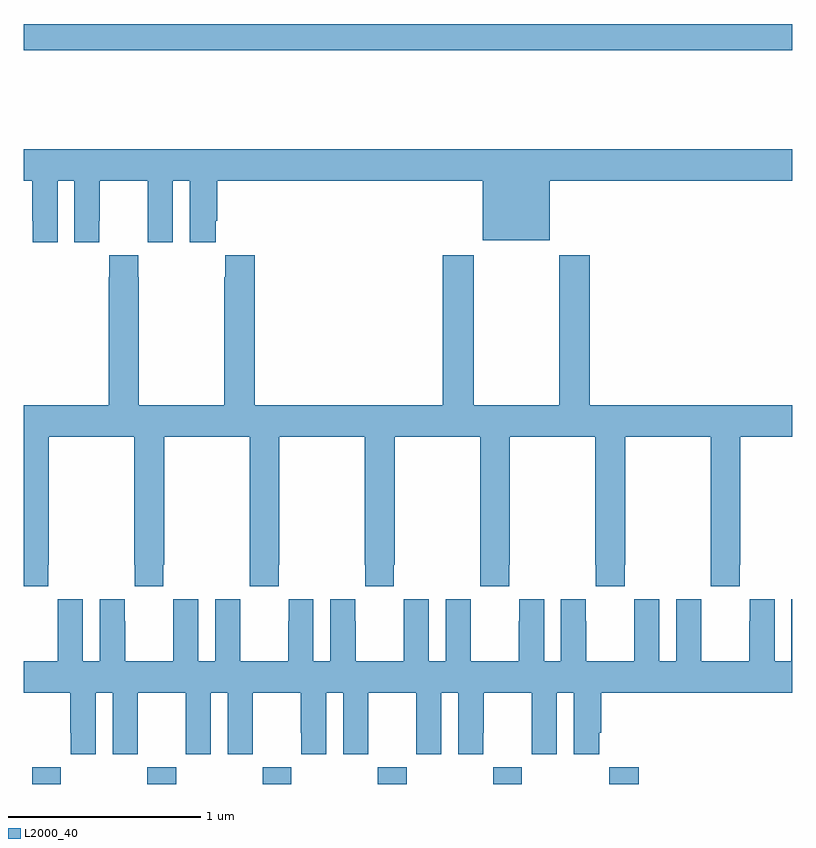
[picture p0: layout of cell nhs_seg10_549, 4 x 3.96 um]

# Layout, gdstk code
import gdstk
lib = gdstk.Library(unit=1e-6, precision=1e-09)
def R(c, l, rs):  # rectangles x0, y0, x1, y1
    for r in rs: c.add(gdstk.rectangle(r[:2], r[2:], *l))
def A(c, l, x, y, w, h, nx, ny, dx, dy):  # array of equal rectangles
    R(c, l, [(x+i*dx, y+j*dy, x+i*dx+w, y+j*dy+h) for i in range(nx) for j in range(ny)])
def P(c, l, *ps):  # polygons
    for p in ps: c.add(gdstk.Polygon(p, *l))
L2000_40 = (2000, 40)

nhs_seg10_549 = lib.new_cell('nhs_seg10_549')
A(nhs_seg10_549, L2000_40, 137.043, 1306.5, 0.15, 0.088, 5, 1, 0.6, 0)
R(nhs_seg10_549, L2000_40, [(140.047,1306.5,140.201,1306.588), (137,1310.32,141,1310.456)])
P(nhs_seg10_549, L2000_40, [(137.176,1309.64),(137.264,1309.64),(137.264,1309.32),(137.394,1309.32),(137.394,1309.432),(137.395,1309.432),(137.395,1309.64),(137.645,1309.64),(137.645,1309.432),(137.646,1309.432),(137.646,1309.32),(137.776,1309.32),(137.776,1309.64),(137.864,1309.64),(137.864,1309.32),(137.998,1309.32),(137.998,1309.432),(138.008,1309.432),(138.008,1309.64),(139.388,1309.64),(139.388,1309.331),(139.738,1309.331),(139.738,1309.64),(141,1309.64),(141,1309.804),(137,1309.804),(137,1309.64),(137.045,1309.64),(137.045,1309.432),(137.046,1309.432),(137.046,1309.32),(137.176,1309.32)],
  [(139.341,1309.252),(139.181,1309.252),(139.181,1308.472),(138.203,1308.472),(138.203,1309.252),(138.049,1309.252),(138.049,1309.139),(138.043,1309.139),(138.043,1308.472),(137.598,1308.472),(137.598,1309.139),(137.595,1309.139),(137.595,1309.252),(137.445,1309.252),(137.445,1309.139),(137.443,1309.139),(137.443,1308.472),(137,1308.472),(137,1307.529),(137.127,1307.529),(137.127,1307.641),(137.13,1307.641),(137.13,1308.308),(137.575,1308.308),(137.575,1307.641),(137.577,1307.641),(137.577,1307.529),(137.727,1307.529),(137.727,1307.641),(137.73,1307.641),(137.73,1308.308),(138.175,1308.308),(138.175,1307.641),(138.177,1307.641),(138.177,1307.529),(138.327,1307.529),(138.327,1307.641),(138.33,1307.641),(138.33,1308.308),(138.775,1308.308),(138.775,1307.641),(138.777,1307.641),(138.777,1307.529),(138.927,1307.529),(138.927,1307.641),(138.93,1307.641),(138.93,1308.308),(139.375,1308.308),(139.375,1307.641),(139.377,1307.641),(139.377,1307.529),(139.527,1307.529),(139.527,1307.641),(139.53,1307.641),(139.53,1308.308),(139.975,1308.308),(139.975,1307.641),(139.977,1307.641),(139.977,1307.529),(140.127,1307.529),(140.127,1307.641),(140.13,1307.641),(140.13,1308.308),(140.575,1308.308),(140.575,1307.641),(140.577,1307.641),(140.577,1307.529),(140.727,1307.529),(140.727,1307.641),(140.73,1307.641),(140.73,1308.308),(141,1308.308),(141,1308.472),(139.946,1308.472),(139.946,1309.252),(139.786,1309.252),(139.786,1308.472),(139.341,1308.472)],
  [(139.643,1306.768),(139.644,1306.768),(139.644,1306.656),(139.774,1306.656),(139.774,1306.976),(139.862,1306.976),(139.862,1306.656),(139.996,1306.656),(139.996,1306.768),(140.006,1306.768),(140.006,1306.976),(141,1306.976),(141,1307.461),(140.996,1307.461),(140.996,1307.14),(140.908,1307.14),(140.908,1307.461),(140.778,1307.461),(140.778,1307.348),(140.777,1307.348),(140.777,1307.14),(140.527,1307.14),(140.527,1307.348),(140.526,1307.348),(140.526,1307.461),(140.396,1307.461),(140.396,1307.14),(140.308,1307.14),(140.308,1307.461),(140.178,1307.461),(140.178,1307.348),(140.177,1307.348),(140.177,1307.14),(139.927,1307.14),(139.927,1307.348),(139.926,1307.348),(139.926,1307.461),(139.796,1307.461),(139.796,1307.14),(139.708,1307.14),(139.708,1307.461),(139.578,1307.461),(139.578,1307.348),(139.577,1307.348),(139.577,1307.14),(139.327,1307.14),(139.327,1307.348),(139.326,1307.348),(139.326,1307.461),(139.196,1307.461),(139.196,1307.14),(139.108,1307.14),(139.108,1307.461),(138.978,1307.461),(138.978,1307.348),(138.977,1307.348),(138.977,1307.14),(138.727,1307.14),(138.727,1307.348),(138.726,1307.348),(138.726,1307.461),(138.596,1307.461),(138.596,1307.14),(138.508,1307.14),(138.508,1307.461),(138.378,1307.461),(138.378,1307.348),(138.377,1307.348),(138.377,1307.14),(138.127,1307.14),(138.127,1307.348),(138.126,1307.348),(138.126,1307.461),(137.996,1307.461),(137.996,1307.14),(137.908,1307.14),(137.908,1307.461),(137.778,1307.461),(137.778,1307.348),(137.777,1307.348),(137.777,1307.14),(137.527,1307.14),(137.527,1307.348),(137.526,1307.348),(137.526,1307.461),(137.396,1307.461),(137.396,1307.14),(137.308,1307.14),(137.308,1307.461),(137.178,1307.461),(137.178,1307.348),(137.177,1307.348),(137.177,1307.14),(137,1307.14),(137,1306.976),(137.243,1306.976),(137.243,1306.768),(137.244,1306.768),(137.244,1306.656),(137.374,1306.656),(137.374,1306.976),(137.462,1306.976),(137.462,1306.656),(137.592,1306.656),(137.592,1306.768),(137.593,1306.768),(137.593,1306.976),(137.843,1306.976),(137.843,1306.768),(137.844,1306.768),(137.844,1306.656),(137.974,1306.656),(137.974,1306.976),(138.062,1306.976),(138.062,1306.656),(138.192,1306.656),(138.192,1306.768),(138.193,1306.768),(138.193,1306.976),(138.443,1306.976),(138.443,1306.768),(138.444,1306.768),(138.444,1306.656),(138.574,1306.656),(138.574,1306.976),(138.662,1306.976),(138.662,1306.656),(138.792,1306.656),(138.792,1306.768),(138.793,1306.768),(138.793,1306.976),(139.043,1306.976),(139.043,1306.768),(139.044,1306.768),(139.044,1306.656),(139.174,1306.656),(139.174,1306.976),(139.262,1306.976),(139.262,1306.656),(139.392,1306.656),(139.392,1306.768),(139.393,1306.768),(139.393,1306.976),(139.643,1306.976)])

lib.write_gds('nhs_seg10_549.gds')
